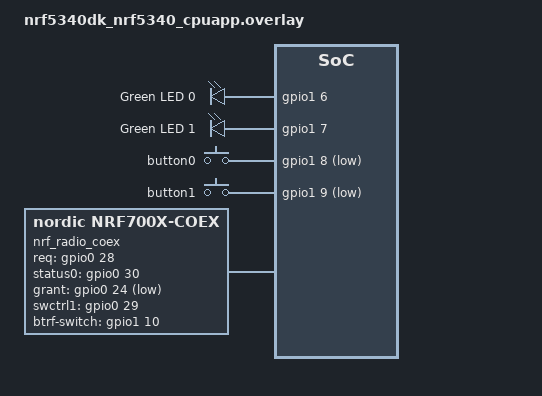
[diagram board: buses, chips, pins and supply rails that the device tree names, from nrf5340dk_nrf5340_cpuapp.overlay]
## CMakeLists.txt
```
#
# Copyright (c) 2022 Nordic Semiconductor ASA
#
# SPDX-License-Identifier: LicenseRef-Nordic-5-Clause
#

cmake_minimum_required(VERSION 3.20.0)

find_package(Zephyr REQUIRED HINTS $ENV{ZEPHYR_BASE})
project(nrf_wifi_sta)

target_include_directories(app PUBLIC ${ZEPHYR_BASE}/subsys/net/ip)

target_sources(app PRIVATE
	src/main.c
	src/Task/Led.c
	src/Task/TCP_Client.c
	src/Task/TCP_Server.c
	src/Task/UDP_Client.c
	src/Task/UDP_Server.c
	src/Task/Wifi_Stationing.c

)
```

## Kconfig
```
 #! @file Kconfig
 #* @brief Kconfig configuration file
 #
 # @author A BLUE THING IN THE CLOUD S.L.U.
 #    ===  When the technology becomes art ===
 #
 # http://abluethinginthecloud.com
 # j.longares@abluethinginthecloud
 #
 # (c) A BLUE THING IN THE CLOUD S.L.U.
 #
 #
 #
 #       ██████████████    ██    ██    ██  ██████    ██████████████
 #       ██          ██      ████████████████  ██    ██          ██
 #       ██  ██████  ██  ██████  ██    ██        ██  ██  ██████  ██
 #       ██  ██████  ██    ██████    ██      ██      ██  ██████  ██
 #       ██  ██████  ██      ██      ████  ██████    ██  ██████  ██
 #       ██          ██    ██      ██████    ████    ██          ██
 #       ██████████████  ██  ██  ██  ██  ██  ██  ██  ██████████████
 #                       ██████  ████  ██████  ████
 #       ██████  ██████████  ████    ████████      ████      ██
 #       ██  ████  ██    ██  ████        ████    ████████  ██    ██
 #           ██  ██  ████  ██      ██      ██      ██  ████  ██████
 #       ████  ████    ██      ██          ████  ██  ██        ██
 #           ██████████          ██      ██    ██  ████    ██  ████
 #         ██  ████    ██      ██████    ██  ██████████    ██    ██
 #       ██  ████  ████████████████  ██    ██        ████████  ████
 #               ████        ██  ██████  ██████████      ████  ██
 #       ██████  ████████████████    ████  ██    ██████    ██  ████
 #           ████████  ██████  ██    ██████      ██        ████  ██
 #       ██    ██  ████████  ██    ██        ██    ██          ████
 #         ████  ████          ██      ████████████  ██  ████  ██
 #       ██  ██████  ████  ██    ██      ████    ██████████
 #                       ██    ██████    ██      ██      ██  ██████
 #       ██████████████  ██  ██████  ██  ████  ████  ██  ████  ████
 #       ██          ██  ██      ████████  ██    ██      ████  ████
 #       ██  ██████  ██  ████  ██    ██████      ██████████    ████
 #       ██  ██████  ██    ██████    ██  ██  ████      ████  ██████
 #       ██  ██████  ██  ████      ██    ████  ██        ████    ██
 #       ██          ██  ██    ██      ██████████████  ██      ██
 #       ██████████████  ██████  ██        ██  ████    ██████  ████
 # 

source "Kconfig.zephyr"

menu "Nordic Sta sample"

config CONNECTION_IDLE_TIMEOUT
	int "Time to be waited for a station to connect"
	default 30

config STA_SAMPLE_SSID
	string "SSID"
	help
	  Specify the SSID to connect

choice  STA_KEY_MGMT_SELECT
	prompt "Security Option"
	default STA_KEY_MGMT_WPA3

config STA_KEY_MGMT_NONE
	bool "Open Security"
	help
	  Enable for Open Security

config STA_KEY_MGMT_WPA2
	bool "WPA2 Security"
	help
	  Enable for WPA2 Security

config STA_KEY_MGMT_WPA2_256
	bool "WPA2 SHA 256 Security"
	help
	  Enable for WPA2-PSK-256 Security

config STA_KEY_MGMT_WPA3
	bool "WPA3 Security"
	help
	  Enable for WPA3 Security
endchoice

config STA_SAMPLE_PASSWORD
	string "Passphrase (WPA2) or password (WPA3)"
	help
	  Specify the Password to connect

config NRF700X_QSPI_ENCRYPTION_KEY
	string "16 bytes QSPI encryption key, only for testing purposes"
	depends on BOARD_NRF7002DK_NRF5340
	help
	  Specify the QSPI encryption key

config TCP_CLIENT
	bool "Enable my function"
	default n

config TCP_SERVER
	bool "Enable my function"
	default n

config UDP_SERVER
	bool "Enable my function"
	default n

config UDP_CLIENT
	bool "Enable my function"
	default n

config LED
	bool "Enable my function"
	default n

config WIFI_STATIONING
	bool "Enable my function"
	default n

endmenu
```

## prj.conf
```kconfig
#
# Copyright (c) 2022 Nordic Semiconductor ASA
# SPDX-License-Identifier: LicenseRef-Nordic-5-Clause
#
# nRF7002 DK TCP/UDP BSD sockets example
#
# This file is intended to be safe for a public GitHub repository.
# Do not commit real Wi-Fi credentials, production IP addresses or private
# network information to a public repository.
#

# ==============================================================================
# Wi-Fi support
# ==============================================================================

CONFIG_WIFI=y
CONFIG_WIFI_NRF700X=y

# WPA supplicant support.
CONFIG_WPA_SUPP=y

# ==============================================================================
# Wi-Fi station credentials
# ==============================================================================
#
# Replace these placeholders in your local development environment.
#
# Recommended options:
#   1. Keep public placeholder values in this file.
#   2. Store real credentials in a local overlay file that is ignored by Git.
#   3. Never commit customer, office or production Wi-Fi credentials.
#

CONFIG_STA_SAMPLE_SSID="YOUR_WIFI_SSID"
CONFIG_STA_SAMPLE_PASSWORD="YOUR_WIFI_PASSWORD"

# Select the Wi-Fi security mode used by your router.
# Enable only one of the following options.

# CONFIG_STA_KEY_MGMT_NONE=y
CONFIG_STA_KEY_MGMT_WPA2=y
# CONFIG_STA_KEY_MGMT_WPA2_256=y
# CONFIG_STA_KEY_MGMT_WPA3=y

# ==============================================================================
# Remote peer configuration
# ==============================================================================
#
# IP address of the PC, server or embedded device that receives the packets sent
# by the TCP client and UDP client examples.
#
# Example:
#   - Board IP assigned by DHCP: 192.168.1.99
#   - PC/server IP address:      192.168.1.201
#

CONFIG_NET_CONFIG_PEER_IPV4_ADDR="192.168.1.201"

# ==============================================================================
# IPv4 configuration
# ==============================================================================
#
# DHCP is enabled by default. The router assigns the board IPv4 address.
#

CONFIG_NET_DHCPV4=y

# Static IPv4 example.
# Disable DHCP before using these options.
#
# CONFIG_NET_DHCPV4=n
# CONFIG_NET_CONFIG_MY_IPV4_ADDR="192.168.1.99"
# CONFIG_NET_CONFIG_MY_IPV4_NETMASK="255.255.255.0"
# CONFIG_NET_CONFIG_MY_IPV4_GW="192.168.1.1"

# ==============================================================================
# System settings
# ==============================================================================

CONFIG_NEWLIB_LIBC=y
CONFIG_NEWLIB_LIBC_NANO=n
CONFIG_THREAD_NAME=y

# ==============================================================================
# Networking
# ==============================================================================

CONFIG_NETWORKING=y
CONFIG_NET_SOCKETS=y
CONFIG_NET_SOCKETS_POSIX_NAMES=y

CONFIG_NET_IPV4=y
CONFIG_NET_UDP=y
CONFIG_NET_TCP=y

CONFIG_NET_LOG=y
CONFIG_NET_L2_ETHERNET=y
CONFIG_NET_CONFIG_SETTINGS=y

CONFIG_NET_PKT_RX_COUNT=16
CONFIG_NET_PKT_TX_COUNT=16
CONFIG_NET_MAX_CONN=10

# This section is the primary contributor to SRAM usage.
# The values below are tuned for socket performance in this example.

CONFIG_NET_BUF_RX_COUNT=80
CONFIG_NET_BUF_TX_COUNT=80
CONFIG_NET_CONTEXT_NET_PKT_POOL=y
CONFIG_NET_BUF_DATA_SIZE=128

CONFIG_HEAP_MEM_POOL_SIZE=183600

CONFIG_NET_TC_TX_COUNT=4
CONFIG_NET_IF_UNICAST_IPV4_ADDR_COUNT=1
CONFIG_NET_MAX_CONTEXTS=20
CONFIG_NET_CONTEXT_SYNC_RECV=y

CONFIG_NET_SOCKETS_POLL_MAX=20
CONFIG_POSIX_MAX_FDS=20

# ==============================================================================
# Stack sizes
# ==============================================================================

CONFIG_MAIN_STACK_SIZE=4096
CONFIG_SYSTEM_WORKQUEUE_STACK_SIZE=2048
CONFIG_NET_TX_STACK_SIZE=4096
CONFIG_NET_RX_STACK_SIZE=4096

# ==============================================================================
# Kernel and runtime options
# ==============================================================================

CONFIG_INIT_STACKS=y
CONFIG_ENTROPY_GENERATOR=y
CONFIG_TEST_RANDOM_GENERATOR=y
CONFIG_POSIX_CLOCK=y
CONFIG_PM=y

# ==============================================================================
# Logging and debugging
# ==============================================================================

CONFIG_LOG=y
CONFIG_LOG_BUFFER_SIZE=2048

CONFIG_STACK_SENTINEL=y
CONFIG_DEBUG_COREDUMP=y
CONFIG_DEBUG_COREDUMP_BACKEND_LOGGING=y
CONFIG_DEBUG_COREDUMP_MEMORY_DUMP_MIN=y

CONFIG_SHELL_CMDS_RESIZE=n

# Printing scan results can put pressure on queues in crowded RF environments.
# Use a higher event queue timeout.

CONFIG_NET_MGMT_EVENT_QUEUE_TIMEOUT=5000

# Enable debug logs for this example.
# Disable this in production builds if you need lower memory usage or less output.

CONFIG_DEBUG=y
```

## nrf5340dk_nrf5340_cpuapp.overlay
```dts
/*! @file nrf5340dk_nrf5340_cpuapp.overlay
 * @brief Overlay file to work with nrf7002dk
 *
 * @author A BLUE THING IN THE CLOUD S.L.U.
 *    ===  When the technology becomes art ===
 *
 * http://abluethinginthecloud.com
 * j.longares@abluethinginthecloud
 *
 * (c) A BLUE THING IN THE CLOUD S.L.U.
 *
 *
 *
        ██████████████    ██    ██    ██  ██████    ██████████████
        ██          ██      ████████████████  ██    ██          ██
        ██  ██████  ██  ██████  ██    ██        ██  ██  ██████  ██
        ██  ██████  ██    ██████    ██      ██      ██  ██████  ██
        ██  ██████  ██      ██      ████  ██████    ██  ██████  ██
        ██          ██    ██      ██████    ████    ██          ██
        ██████████████  ██  ██  ██  ██  ██  ██  ██  ██████████████
                        ██████  ████  ██████  ████
        ██████  ██████████  ████    ████████      ████      ██
        ██  ████  ██    ██  ████        ████    ████████  ██    ██
            ██  ██  ████  ██      ██      ██      ██  ████  ██████
        ████  ████    ██      ██          ████  ██  ██        ██
            ██████████          ██      ██    ██  ████    ██  ████
          ██  ████    ██      ██████    ██  ██████████    ██    ██
        ██  ████  ████████████████  ██    ██        ████████  ████
                ████        ██  ██████  ██████████      ████  ██
        ██████  ████████████████    ████  ██    ██████    ██  ████
            ████████  ██████  ██    ██████      ██        ████  ██
        ██    ██  ████████  ██    ██        ██    ██          ████
          ████  ████          ██      ████████████  ██  ████  ██
        ██  ██████  ████  ██    ██      ████    ██████████
                        ██    ██████    ██      ██      ██  ██████
        ██████████████  ██  ██████  ██  ████  ████  ██  ████  ████
        ██          ██  ██      ████████  ██    ██      ████  ████
        ██  ██████  ██  ████  ██    ██████      ██████████    ████
        ██  ██████  ██    ██████    ██  ██  ████      ████  ██████
        ██  ██████  ██  ████      ██    ████  ██        ████    ██
        ██          ██  ██    ██      ██████████████  ██      ██
        ██████████████  ██████  ██        ██  ████    ██████  ████



*/

 
 /{
        leds {
            led_0 {
                gpios = <&gpio1 6 GPIO_ACTIVE_HIGH>;
                label = "Green LED 0";
            };
            led_1 {
                gpios = <&gpio1 7 GPIO_ACTIVE_HIGH>;                
                label = "Green LED 1";
            };
            /delete-node/ led_2;
            /delete-node/ led_3;
        };

      
    buttons {
        button0: button_0 {
            gpios = <&gpio1 8 (GPIO_PULL_UP | GPIO_ACTIVE_LOW)>;
        };
        button1: button_1 {
            gpios = <&gpio1 9 (GPIO_PULL_UP | GPIO_ACTIVE_LOW)>;
        };
        /delete-node/ button_2;
        /delete-node/ button_3;
    };

    gpio_fwd: nrf-gpio-forwarder {
        uart {
            gpios = <&gpio1 1 0>, <&gpio1 0 0>, <&gpio1 5 0>, <&gpio1 4 0>;
        };
    };

    nrf_radio_coex: nrf7002-coex {
        status = "okay";
        compatible = "nordic,nrf700x-coex";
        req-gpios = <&gpio0 28 GPIO_ACTIVE_HIGH>;
        status0-gpios = <&gpio0 30 GPIO_ACTIVE_HIGH>;
        grant-gpios = <&gpio0 24 (GPIO_PULL_DOWN | GPIO_ACTIVE_LOW)>;
        swctrl1-gpios = <&gpio0 29 GPIO_ACTIVE_HIGH>;
        btrf-switch-gpios = <&gpio1 10 GPIO_ACTIVE_HIGH>;
    };

    /* These aliases are provided for compatibility with samples */
	aliases {
		/delete-property/ led2;
        /delete-property/ led3;
        /delete-property/ sw2;
        /delete-property/ sw3;
	};
};
```

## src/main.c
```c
/*! @file main.c
 * @brief Implementation of the wifi stationing 
 *
 * @author A BLUE THING IN THE CLOUD S.L.U.
 *    ===  When the technology becomes art ===
 *
 * http://abluethinginthecloud.com
 * j.longares@abluethinginthecloud
 *
 * (c) A BLUE THING IN THE CLOUD S.L.U.
 *
 *
 *
        ██████████████    ██    ██    ██  ██████    ██████████████
        ██          ██      ████████████████  ██    ██          ██
        ██  ██████  ██  ██████  ██    ██        ██  ██  ██████  ██
        ██  ██████  ██    ██████    ██      ██      ██  ██████  ██
        ██  ██████  ██      ██      ████  ██████    ██  ██████  ██
        ██          ██    ██      ██████    ████    ██          ██
        ██████████████  ██  ██  ██  ██  ██  ██  ██  ██████████████
                        ██████  ████  ██████  ████
        ██████  ██████████  ████    ████████      ████      ██
        ██  ████  ██    ██  ████        ████    ████████  ██    ██
            ██  ██  ████  ██      ██      ██      ██  ████  ██████
        ████  ████    ██      ██          ████  ██  ██        ██
            ██████████          ██      ██    ██  ████    ██  ████
          ██  ████    ██      ██████    ██  ██████████    ██    ██
        ██  ████  ████████████████  ██    ██        ████████  ████
                ████        ██  ██████  ██████████      ████  ██
        ██████  ████████████████    ████  ██    ██████    ██  ████
            ████████  ██████  ██    ██████      ██        ████  ██
        ██    ██  ████████  ██    ██        ██    ██          ████
          ████  ████          ██      ████████████  ██  ████  ██
        ██  ██████  ████  ██    ██      ████    ██████████
                        ██    ██████    ██      ██      ██  ██████
        ██████████████  ██  ██████  ██  ████  ████  ██  ████  ████
        ██          ██  ██      ████████  ██    ██      ████  ████
        ██  ██████  ██  ████  ██    ██████      ██████████    ████
        ██  ██████  ██    ██████    ██  ██  ████      ████  ██████
        ██  ██████  ██  ████      ██    ████  ██        ████    ██
        ██          ██  ██    ██      ██████████████  ██      ██
        ██████████████  ██████  ██        ██  ████    ██████  ████



*/


#include <zephyr/logging/log.h>
LOG_MODULE_REGISTER(sta, CONFIG_LOG_DEFAULT_LEVEL);

#include <zephyr/kernel.h>

#include "Task/Wifi_Stationing.h"
#include "Task/Led.h"
#include "Task/TCP_Server.h"
#include "Task/TCP_Client.h"
#include "Task/UDP_Server.h"
#include "Task/UDP_Client.h"
#include "Task/deviceInformation.h"

void main( void ) {

	Task_Wifi_Stationing_Init();
	Task_Toggle_Led_Init();
	Task_TCP_Client_Init();
	Task_TCP_Server_Init();
	Task_UDP_Client_Init();
	Task_UDP_Server_Init();

	k_sleep( K_FOREVER );
	
}
```
